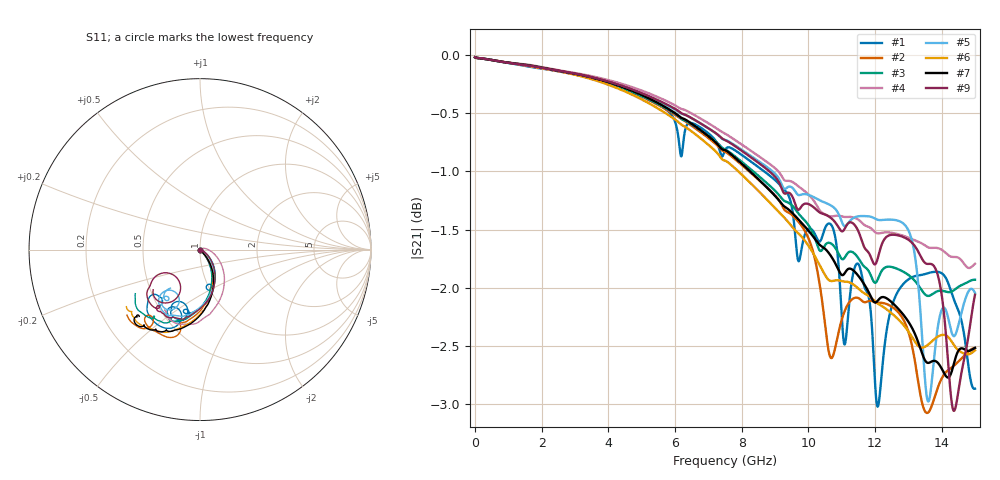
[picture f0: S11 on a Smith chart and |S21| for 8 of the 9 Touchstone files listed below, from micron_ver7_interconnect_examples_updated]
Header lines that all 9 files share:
![Disclaimer] This software code/ model/ data and all associated documentation, comments
!    or other information (collectively "Software") is provided
!    "AS IS" without warranty of any kind. MICRON TECHNOLOGY, INC.
!   ("MTI") EXPRESSLY DISCLAIMS ALL WARRANTIES EXPRESS OR IMPLIED,
!    INCLUDING BUT NOT LIMITED TO, NONINFRINGEMENT OF THIRD PARTY
!   RIGHTS, AND ANY IMPLIED WARRANTIES OF MERCHANTABILITY OR FITNESS
!    FOR ANY PARTICULAR PURPOSE. MTI DOES NOT WARRANT THAT THE
!    SOFTWARE WILL MEET YOUR REQUIREMENTS, OR THAT THE OPERATION OF
!    THE SOFTWARE WILL BE UNINTERRUPTED OR ERROR-FREE. FURTHERMORE,
!    MTI DOES NOT MAKE ANY REPRESENTATIONS REGARDING THE USE OR THE
!    RESULTS OF THE USE OF THE SOFTWARE IN TERMS OF ITS CORRECTNESS,
!    ACCURACY, RELIABILITY, OR OTHERWISE. THE ENTIRE RISK ARISING OUT
!    OF USE OR PERFORMANCE OF THE SOFTWARE REMAINS WITH YOU. IN NO
!    EVENT SHALL MTI, ITS AFFILIATED COMPANIES OR THEIR SUPPLIERS BE
!    LIABLE FOR ANY DIRECT, INDIRECT, CONSEQUENTIAL, INCIDENTAL, OR
!    SPECIAL DAMAGES (INCLUDING, WITHOUT LIMITATION, DAMAGES FOR LOSS
!    OF PROFITS, BUSINESS INTERRUPTION, OR LOSS OF INFORMATION)
!    ARISING OUT OF YOUR USE OF OR INABILITY TO USE THE SOFTWARE,
!    EVEN IF MTI HAS BEEN ADVISED OF THE POSSIBILITY OF SUCH DAMAGES.
!    Because some jurisdictions prohibit the exclusion or limitation
!    of liability for consequential or incidental damages, the above
!    limitation may not apply to you.
!    Copyright 2019 Micron Technology, Inc. All rights reserved.
! Single-ended  S-parameters
!NUMBER OF PORTS = 2
!  PORT#  PORT_NAME  NET_NAME
# HZ S  RI R 5.000000e+001
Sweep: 10 Hz to 15 GHz
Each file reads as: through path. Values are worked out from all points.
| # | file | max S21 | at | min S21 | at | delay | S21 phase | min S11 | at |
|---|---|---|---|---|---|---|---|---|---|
| 1 | z11b_78b_dm_sparam.s2p | -0.02 dB | 1.848 kHz | -3.0 dB | 12.08 GHz | 34.8 ps | -83 deg at 6.5 GHz | -54.4 dB | 10 Hz |
| 2 | z11b_78b_dq0_sparam.s2p | -0.02 dB | 3.687 kHz | -3.1 dB | 13.56 GHz | 32.3 ps | -80 deg at 6.5 GHz | -54.6 dB | 10 Hz |
| 3 | z11b_78b_dq1_sparam.s2p | -0.02 dB | 3.162 kHz | -2.1 dB | 13.6 GHz | 33.2 ps | -81 deg at 6.5 GHz | -54.6 dB | 10 Hz |
| 4 | z11b_78b_dq2_sparam.s2p | -0.02 dB | 5.843 kHz | -1.8 dB | 14.82 GHz | 33.4 ps | -80 deg at 6.5 GHz | -54.6 dB | 10 Hz |
| 5 | z11b_78b_dq3_sparam.s2p | -0.02 dB | 5.412 kHz | -3.0 dB | 13.6 GHz | 35 ps | -82 deg at 6.5 GHz | -54.6 dB | 10 Hz |
| 6 | z11b_78b_dq4_sparam.s2p | -0.02 dB | 3.162 kHz | -2.6 dB | 14.77 GHz | 32.9 ps | -81 deg at 6.5 GHz | -54.3 dB | 10 Hz |
| 7 | z11b_78b_dq5_sparam.s2p | -0.02 dB | 5.012 kHz | -2.8 dB | 14.19 GHz | 31.6 ps | -78 deg at 6.5 GHz | -54.6 dB | 10 Hz |
| 8 | z11b_78b_dq6_sparam.s2p | -0.02 dB | 3.981 kHz | -2.9 dB | 13.34 GHz | 33.7 ps | -82 deg at 6.5 GHz | -54.5 dB | 10 Hz |
| 9 | z11b_78b_dq7_sparam.s2p | -0.02 dB | 5.412 kHz | -3.1 dB | 14.37 GHz | 34.5 ps | -82 deg at 6.5 GHz | -54.6 dB | 10 Hz |
